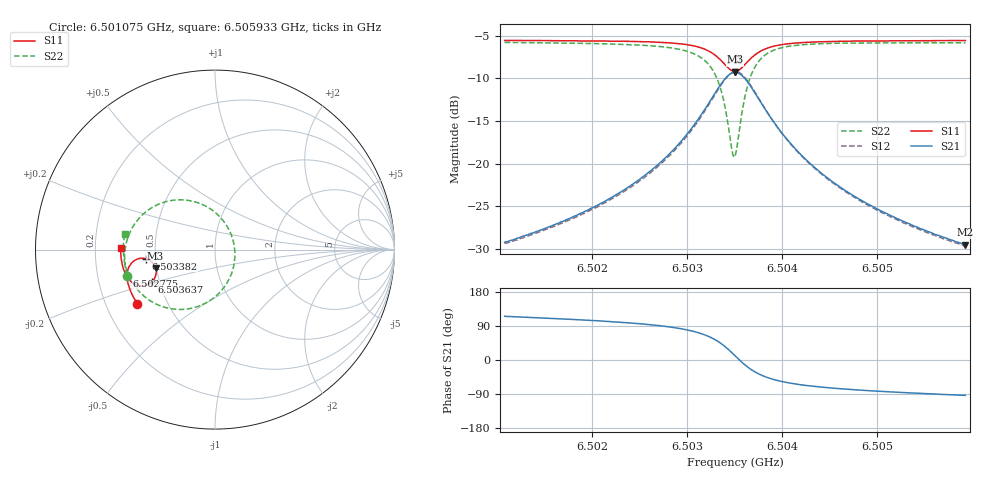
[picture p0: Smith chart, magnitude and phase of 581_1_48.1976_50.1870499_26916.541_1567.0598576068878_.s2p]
#  HZ  S  RI  R  50.00
! Rohde & Schwarz Vector Network Analyzer
! Rohde-Schwarz,ZNB20-2Port,1311601062101988,3.16
! Created: UTC 3/20/2024, 12:02:05 PM
! freq[Hz]  re:S11  im:S11  re:S21  im:S21  re:S12  im:S12  re:S22  im:S22
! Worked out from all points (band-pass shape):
!   401 points, 6.501075 GHz to 6.505933 GHz, reference 50 ohm
!   highest |S21| = -9.30 dB at 6.503504 GHz (marker M1); lowest = -29.5 dB at 6.505933 GHz (marker M2)
!   |S21| within 3 dB of the highest: 6.503261 GHz to 6.503747 GHz (486 kHz wide, 0.00747 % of centre)
!   lowest |S11| = -9.2 dB at 6.503504 GHz (marker M3), VSWR 2.06, Z = 24.7 - j5.73 ohm
!   |S11| at or under -10 dB: nowhere
!   |S22| runs from -19.2 to -5.8 dB; largest |S21 - S12| = 0.012
!   S11 on the Smith chart (normalised r, x): 6.501075 GHz: 0.34, -0.28; 6.502775 GHz: 0.33, -0.13; 6.503382 GHz: 0.44, -0.05; 6.503637 GHz: 0.45, -0.19; 6.505933 GHz: 0.31, +0.01
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6.5010749e9  -0.4319 -0.3018  -0.0149 0.0313  -0.0131 0.0314  -0.4926 -0.1447
6.5018886e9  -0.4662 -0.2406  -0.014 0.0496  -0.0116 0.0492  -0.5039 -0.0561
6.5023501e9  -0.4818 -0.1986  -0.0106 0.0705  -0.00752 0.0694  -0.4992 0.0116
6.5027023e9  -0.4895 -0.1583  -0.00141 0.1  0.00236 0.0976  -0.4786 0.0853
6.5027751e9  -0.4899 -0.1485  0.0028 0.1089  0.00645 0.1061  -0.4697 0.1049
6.5029937e9  -0.4854 -0.1128  0.0264 0.1454  0.0301 0.1411  -0.4208 0.1772
6.5031395e9  -0.4711 -0.0827  0.0642 0.1792  0.067 0.1736  -0.3474 0.2363
6.5032852e9  -0.4329 -0.0531  0.1466 0.2082  0.1473 0.2023  -0.1973 0.2776
6.5033338e9  -0.4113 -0.0482  0.1896 0.207  0.1898 0.2013  -0.1221 0.2688
6.5033824e9  -0.3859 -0.0503  0.2389 0.1916  0.2392 0.1872  -0.0376 0.2345
6.5034674e9  -0.3424 -0.0797  0.3181 0.1163  0.3208 0.1123  0.0892 0.0863
6.5035038e9  -0.3312 -0.1022  0.3362 0.067  0.34 0.062  0.1103 -0.00631
6.5035281e9  -0.3281 -0.1187  0.3397 0.032  0.3439 0.0255  0.108 -0.0705
6.5035646e9  -0.3303 -0.1431  0.3325 -0.0188  0.3362 -0.0277  0.0807 -0.1606
6.5036374e9  -0.3528 -0.1809  0.2852 -0.0962  0.2854 -0.1077  -0.0306 -0.2855
6.5037346e9  -0.3942 -0.2008  0.206 -0.1403  0.2013 -0.1505  -0.192 -0.3335
6.5038925e9  -0.444 -0.1934  0.1168 -0.1394  0.1097 -0.1452  -0.3541 -0.2892
6.5040625e9  -0.4735 -0.1723  0.0682 -0.1184  0.0619 -0.121  -0.4329 -0.2214
6.5043175e9  -0.4961 -0.1408  0.035 -0.0913  0.0301 -0.092  -0.4812 -0.143
6.5047062e9  -0.5125 -0.0995  0.0146 -0.0659  0.0113 -0.0655  -0.5048 -0.063
6.5051312e9  -0.5213 -0.0596  0.00525 -0.0499  0.00293 -0.0493  -0.5105 -0.00145
6.5059328e9  -0.5264 0.00882  -0.00195 -0.0336  -0.00345 -0.0327  -0.5036 0.0854
